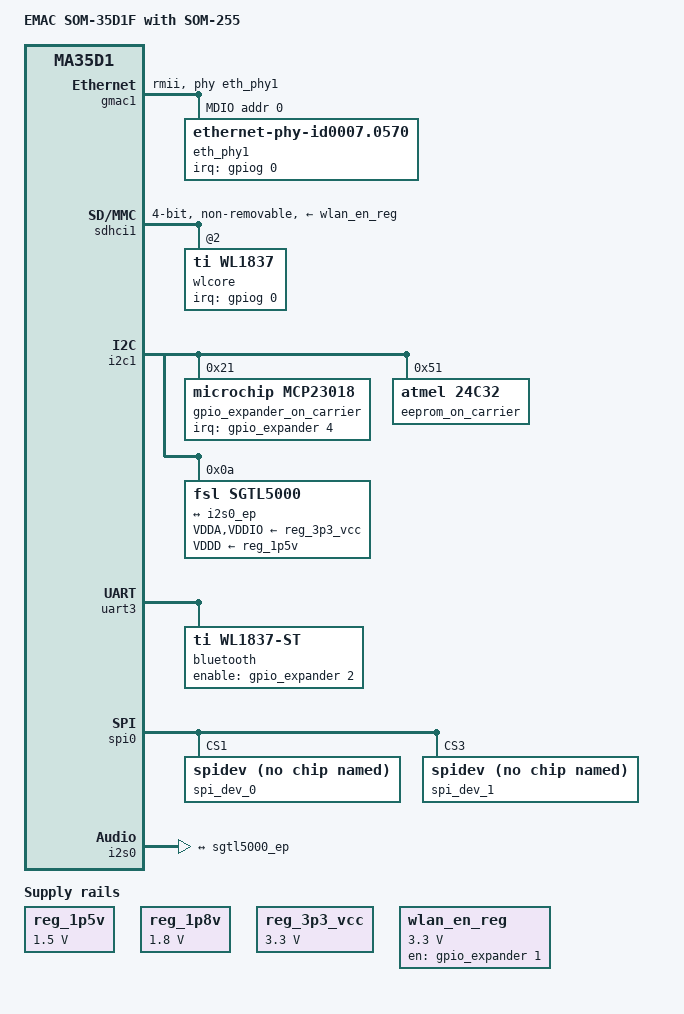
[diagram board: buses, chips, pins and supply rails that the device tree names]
// SPDX-License-Identifier: GPL-2.0-or-later
/*
 * som-35d1f-255gs.dtsi - Device Tree file for the SOM-35D1F w/ 255GS EMAC Carrier.
 *
 * Copyright (C) 2023 EMAC Inc.
 *
 */

/dts-v1/;
#include "som35d1f.dtsi"

/ {
	model = "EMAC SOM-35D1F with SOM-255";
	compatible = "emac,som35d1f-255gs", "emac,som35d1f", "nuvoton,ma35d1";
	// display reserved-memoryhandled in panel dts file

	reg_1p5v: regulator0 {
		compatible = "regulator-fixed";
		regulator-name = "fixed-1.5V";
		regulator-min-microvolt = <1500000>;
		regulator-max-microvolt = <1500000>;
		regulator-boot-on;
		regulator-always-on;
	};

	reg_1p8v: regulator1 {
		compatible = "regulator-fixed";
		regulator-name = "fixed-1.8V";
		regulator-min-microvolt = <1800000>;
		regulator-max-microvolt = <1800000>;
		regulator-boot-on;
		regulator-always-on;
	};

	reg_3p3_vcc: regulator2 {
		compatible = "regulator-fixed";
		regulator-name = "fixed-3.3V";
		regulator-min-microvolt = <3300000>;
		regulator-max-microvolt = <3300000>;
		regulator-boot-on;
		regulator-always-on;
	};

	// Networking
	wlan_en_reg: regulator-wlan-en {
		compatible = "regulator-fixed";
		regulator-name = "wlan-en";
		regulator-min-microvolt = <3300000>;
		regulator-max-microvolt = <3300000>;
		gpio = <&gpio_expander 1 GPIO_ACTIVE_HIGH>;
		startup-delay-us = <70000>;
		enable-active-high;
		regulator-always-on;
	};


};

&gpio_expander {
	gpio-line-names =
		"BK_ON_OFF", "WIFI_EN", "BT_EN", "GPIO_INT_A",
		"GPIO_INT_B", "CAM1_IO0", "CAM1_IO1", "USB_OTG_INT#",
		"HALF_DUP", "LVDS_2VE", "HNDY_GPIO_10", "BUZZER",
		"IRQ0", "IRQ1", "", "" ;
};

// handle this in the panel dts
&gc520l {
	status = "disabled";
};

// handle this in the panel dts
&vc8k {
	status = "disabled";
};

// handle this in the panel dts
&tsc2004 {
	status = "disabled";
};

&gmac1 {
	phy-mode = "rmii";
	phy-handle = <&eth_phy1>;
	emac-phy-reset = <&gpio_expander_on_carrier 10 GPIO_ACTIVE_HIGH>;
	status = "okay";
	mdio1: mdio{
		compatible = "snps,dwmac-mdio";
		#address-cells = <1>;
		#size-cells = <0>;
		eth_phy1: ethernet-phy@1{
			compatible = "ethernet-phy-id0007.0570";
			vsc8531,vddmac = <3300>;
			vsc8531,edge-slowdown = <7>;
			interrupts-extended = <&gpiog 0 IRQ_TYPE_EDGE_FALLING>;
			reg = <0>;
		};
	};
};

&sdhci1 {
	/delete-property/ cd-gpios;
	/delete-property/ wp-gpios;
	disable-wp;
	vmmc-supply = <&wlan_en_reg>;
	bus-width = <4>;
	non-removable;
	cap-power-off-card;
	keep-power-in-suspend;
	no-1-8-v;
	status = "okay";
	#address-cells = <1>;
	#size-cells = <0>;
	wlcore: wlcore@2 {
		status = "okay";
		compatible = "ti,wl1837";
		reg = <2>;
		interrupt-parent = <&gpiog>;
		interrupts = <0 IRQ_TYPE_EDGE_FALLING>;
	};
};


&i2c1 {
	// Refdes: U32
	// Chip: MCP23018T-E/MJ
	// Datasheet: https://ww1.microchip.com/downloads/en/DeviceDoc/22103a.pdf
	gpio_expander_on_carrier: mirochip_gpio_expander_on_carrier@21 {
		status = "okay";
		compatible = "microchip,mcp23018";
		reg = <0x21>;
		gpio-controller;
		#gpio-cells = <2>;
		interrupt-parent = <&gpio_expander>;
		interrupts = <4 IRQ_TYPE_LEVEL_LOW>, <5 IRQ_TYPE_LEVEL_LOW>; // GPIO_INI_A, GPIO_INIT_B
		interrupt-controller;
		#interrupt-cells=<2>;
		gpio-line-names =
			"NC", "HNDY_GPIO_1", "HNDY_GPIO_2", "HNDY_GPIO_3",
			"HNDY_GPIO_4", "HNDY_GPIO_5", "HNDY_GPIO_6", "HNDY_GPIO_7",
			"HNDY_GPIO_8", "HNDY_GPIO_9", "ETH2_EN", "RED_LED",
			"GRN_LED", "DISP1_IO0", "DISP1_IO2", "NC" ;
	};

	// Refdes: U23
	// Chip: 24WC32
	// DataSheet: https://www.st.com/resource/en/datasheet/m24c32-x.pdf
	eeprom_on_carrier: eeprom@51 {
		compatible = "atmel,24c32";
		pagesize = <32>;
		reg = <0x51>;
		status = "okay";
	};

	// The Audio Codec
	// Refdes: U15
	// Chip: SGTL5000XNLA3
	// Datasheet: https://www.nxp.com/docs/en/data-sheet/SGTL5000.pdf
	sgtl5000: audio-codec@0a {
		compatible = "fsl,sgtl5000";
		reg = <0x0a>;
		#sound-dai-cells = <0>;
		VDDA-supply = <&reg_3p3_vcc>;
		VDDIO-supply = <&reg_3p3_vcc>;
		VDDD-supply = <&reg_1p5v>;
		clocks = <&i2s0>;
		status = "okay";
		port {
			sgtl5000_ep: endpoint {
				remote-endpoint = <&i2s0_ep>;
			};
		};
	};
};

&uart3 {
	bluetooth: wl1837st {
		compatible = "ti,wl1837-st";
		enable-gpios = <&gpio_expander 2 GPIO_ACTIVE_HIGH>;
		max-speed = <912600>;
		status = "okay";
	};
};

&spi0 {
	// userland spidev support for headers and pins. we have 2 chip selects
	// CS1 and CS3 this all gets routed to HDR7
	spi_dev_0: spidev00@1 {
		compatible = "emac,spidev";
		reg = <1>;
	};
	spi_dev_1: spidev1@3 {
		compatible = "emac,spidev";
		reg = <3>;
	};
};

&sound {
	compatible = "nuvoton,ma35d1-audio-sgtl5000";
	label = "MA35D1-SGTL5000";
	dais = <&i2s0_port>;
	status = "okay";
	widgets =
		"Headphone", "Headphone Jack",
		"Microphone", "Mic Jack";
	routing =
		"Headphone Jack", "HP_OUT",
		"MIC_IN", "Mic Jack";
};

&i2s0 {
	status = "okay";
	i2s0_port: port {
		i2s0_ep: endpoint {
			remote-endpoint = <&sgtl5000_ep>;
			dai-format = "i2s";
			bitclock-master;
			frame-master;
			//  48000 * 256 = 12.288 MHz
			mclk-fs = <256>;
			// TODO clean this up after testing.
			system-clock-frequency = <12288000>;
			system-clock-direction-out;
		};
	};
};
